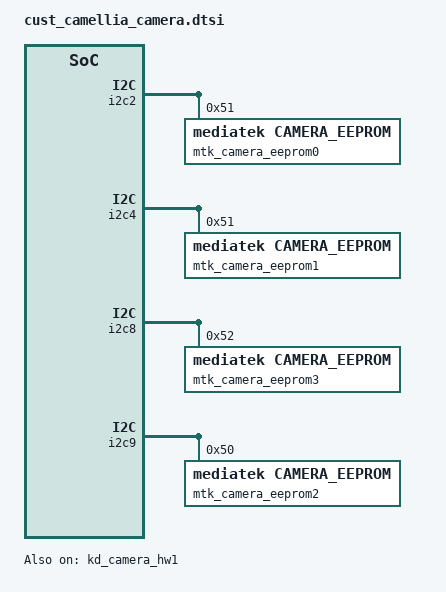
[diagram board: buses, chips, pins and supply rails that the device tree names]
/*
 * Copyright (c) 2019 MediaTek Inc.
 *
 * This program is free software; you can redistribute it and/or modify
 * it under the terms of the GNU General Public License version 2 as
 * published by the Free Software Foundation.
 *
 * This program is distributed in the hope that it will be useful,
 * but WITHOUT ANY WARRANTY; without even the implied warranty of
 * MERCHANTABILITY or FITNESS FOR A PARTICULAR PURPOSE.  See the
 * GNU General Public License for more details.
 */
/* CAMERA GPIO standardization */
&pio {
	camera_pins_cam0_rst_0: cam0@0 {
		pins_cmd_dat {
			pinmux = <PINMUX_GPIO56__FUNC_GPIO56>;
			slew-rate = <1>;
			output-low;
		};
	};
	camera_pins_cam0_rst_1: cam0@1 {
		pins_cmd_dat {
			pinmux = <PINMUX_GPIO56__FUNC_GPIO56>;
			slew-rate = <1>;
			output-high;
		};
	};

	camera_pins_cam1_rst_0: cam1@0 {
		pins_cmd_dat {
			pinmux = <PINMUX_GPIO54__FUNC_GPIO54>;
			slew-rate = <1>;
			output-low;
		};
	};
	camera_pins_cam1_rst_1: cam1@1 {
		pins_cmd_dat {
			pinmux = <PINMUX_GPIO54__FUNC_GPIO54>;
			slew-rate = <1>;
			output-high;
		};
	};

	camera_pins_cam2_rst_0: cam2@0 {
		pins_cmd_dat {
			pinmux = <PINMUX_GPIO60__FUNC_GPIO60>;
			slew-rate = <1>;
			output-low;
		};
	};
	camera_pins_cam2_rst_1: cam2@1 {
		pins_cmd_dat {
			pinmux = <PINMUX_GPIO60__FUNC_GPIO60>;
			slew-rate = <1>;
			output-high;
		};
	};

	camera_pins_cam0_vcamd_0: cam0@vcam0 {
		pins_cmd_dat {
			pinmux = <PINMUX_GPIO82__FUNC_GPIO82>;
			slew-rate = <1>;
			output-low;
		};
	};
	camera_pins_cam0_vcamd_1: cam0@vcam1 {
		pins_cmd_dat {
			pinmux = <PINMUX_GPIO82__FUNC_GPIO82>;
			slew-rate = <1>;
			output-high;
		};
	};
	camera_pins_cam0_vcama_0: cam0@vcam2 {
		pins_cmd_dat {
			pinmux = <PINMUX_GPIO7__FUNC_GPIO7>;
			slew-rate = <1>;
			output-low;
		};
	};
	camera_pins_cam0_vcama_1: cam0@vcam3 {
		pins_cmd_dat {
			pinmux = <PINMUX_GPIO7__FUNC_GPIO7>;
			slew-rate = <1>;
			output-high;
		};
	};

	camera_pins_cam1_vcamd_0: cam1@vcam0 {
		pins_cmd_dat {
			pinmux = <PINMUX_GPIO6__FUNC_GPIO6>;
			slew-rate = <1>;
			output-low;
		};
	};
	camera_pins_cam1_vcamd_1: cam1@vcam1 {
		pins_cmd_dat {
			pinmux = <PINMUX_GPIO6__FUNC_GPIO6>;
			slew-rate = <1>;
			output-high;
		};
	};
	camera_pins_cam1_vcama_0: cam1@vcam2 {
		pins_cmd_dat {
			pinmux = <PINMUX_GPIO7__FUNC_GPIO7>;
			slew-rate = <1>;
			output-low;
		};
	};
	camera_pins_cam1_vcama_1: cam1@vcam3 {
		pins_cmd_dat {
			pinmux = <PINMUX_GPIO7__FUNC_GPIO7>;
			slew-rate = <1>;
			output-high;
		};
	};
	camera_pins_cam2_vcamd_0: cam2@vcam0 {
		pins_cmd_dat {
			pinmux = <PINMUX_GPIO6__FUNC_GPIO6>;
			slew-rate = <1>;
			output-low;
		};
	};
	camera_pins_cam2_vcamd_1: cam2@vcam1 {
		pins_cmd_dat {
			pinmux = <PINMUX_GPIO6__FUNC_GPIO6>;
			slew-rate = <1>;
			output-high;
		};
	};
	camera_pins_cam2_vcama_0: cam2@vcam2 {
		pins_cmd_dat {
			pinmux = <PINMUX_GPIO7__FUNC_GPIO7>;
			slew-rate = <1>;
			output-low;
		};
	};
	camera_pins_cam2_vcama_1: cam2@vcam3 {
		pins_cmd_dat {
			pinmux = <PINMUX_GPIO7__FUNC_GPIO7>;
			slew-rate = <1>;
			output-high;
		};
	};
	camera_pins_cam0_mclk_off: camera_pins_cam0_mclk_off {
		pins_cmd_dat {
			pinmux = <PINMUX_GPIO50__FUNC_GPIO50>;
			drive-strength = <1>;
		};
	};
	camera_pins_cam0_mclk_2ma: camera_pins_cam0_mclk_2ma {
		pins_cmd_dat {
			pinmux = <PINMUX_GPIO50__FUNC_CMMCLK1>;
			drive-strength = <0>;
		};
	};
	camera_pins_cam0_mclk_4ma: camera_pins_cam0_mclk_4ma {
		pins_cmd_dat {
			pinmux = <PINMUX_GPIO50__FUNC_CMMCLK1>;
			drive-strength = <1>;
		};
	};
	camera_pins_cam0_mclk_6ma: camera_pins_cam0_mclk_6ma {
		pins_cmd_dat {
			pinmux = <PINMUX_GPIO50__FUNC_CMMCLK1>;
			drive-strength = <2>;
		};
	};
	camera_pins_cam0_mclk_8ma: camera_pins_cam0_mclk_8ma {
		pins_cmd_dat {
			pinmux = <PINMUX_GPIO50__FUNC_CMMCLK1>;
			drive-strength = <3>;
		};
	};
	camera_pins_cam1_mclk_off: camera_pins_cam1_mclk_off {
		pins_cmd_dat {
			pinmux = <PINMUX_GPIO49__FUNC_GPIO49>;
			drive-strength = <1>;
		};
	};
	camera_pins_cam1_mclk_2ma: camera_pins_cam1_mclk_2ma {
		pins_cmd_dat {
			pinmux = <PINMUX_GPIO49__FUNC_CMMCLK0>;
			drive-strength = <0>;
		};
	};
	camera_pins_cam1_mclk_4ma: camera_pins_cam1_mclk_4ma {
		pins_cmd_dat {
			pinmux = <PINMUX_GPIO49__FUNC_CMMCLK0>;
			drive-strength = <1>;
		};
	};
	camera_pins_cam1_mclk_6ma: camera_pins_cam1_mclk_6ma {
		pins_cmd_dat {
			pinmux = <PINMUX_GPIO49__FUNC_CMMCLK0>;
			drive-strength = <2>;
		};
	};
	camera_pins_cam1_mclk_8ma: camera_pins_cam1_mclk_8ma {
		pins_cmd_dat {
			pinmux = <PINMUX_GPIO49__FUNC_CMMCLK0>;
			drive-strength = <3>;
		};
	};
	camera_pins_cam2_mclk_off: camera_pins_cam2_mclk_off {
		pins_cmd_dat {
			pinmux = <PINMUX_GPIO52__FUNC_GPIO52>;
			drive-strength = <1>;
		};
	};
	camera_pins_cam2_mclk_2ma: camera_pins_cam2_mclk_2ma {
		pins_cmd_dat {
			pinmux = <PINMUX_GPIO52__FUNC_CMMCLK3>;
			drive-strength = <0>;
		};
	};
	camera_pins_cam2_mclk_4ma: camera_pins_cam2_mclk_4ma {
		pins_cmd_dat {
			pinmux = <PINMUX_GPIO52__FUNC_CMMCLK3>;
			drive-strength = <1>;
		};
	};
	camera_pins_cam2_mclk_6ma: camera_pins_cam2_mclk_6ma {
		pins_cmd_dat {
			pinmux = <PINMUX_GPIO52__FUNC_CMMCLK3>;
			drive-strength = <2>;
		};
	};
	camera_pins_cam2_mclk_8ma: camera_pins_cam2_mclk_8ma {
		pins_cmd_dat {
			pinmux = <PINMUX_GPIO52__FUNC_CMMCLK3>;
			drive-strength = <3>;
		};
	};
	camera_pins_cam_mipi_switch_en_1: mipi_en@1 {
		pins_cmd_dat {
			pinmux = <PINMUX_GPIO131__FUNC_GPIO131>;
			slew-rate = <1>;
			output-high;
		};
	};
	camera_pins_cam_mipi_switch_en_0: mipi_en@0 {
		pins_cmd_dat {
			pinmux = <PINMUX_GPIO131__FUNC_GPIO131>;
			slew-rate = <1>;
			output-low;
		};
	};
	camera_pins_cam_mipi_switch_sel_1: mipi_sel@1 {
		pins_cmd_dat {
			pinmux = <PINMUX_GPIO132__FUNC_GPIO132>;
			slew-rate = <1>;
			output-high;
		};
	};
	camera_pins_cam_mipi_switch_sel_0: mipi_sel@0 {
		pins_cmd_dat {
			pinmux = <PINMUX_GPIO132__FUNC_GPIO132>;
			slew-rate = <1>;
			output-low;
		};
	};
	camera_pins_default: camdefault {
	};
};
&kd_camera_hw1 {
	pinctrl-names = "default",
			"cam0_rst0", "cam0_rst1",
			"cam1_rst0", "cam1_rst1",
			"cam2_rst0", "cam2_rst1",
			"cam0_ldo_vcamd_0", "cam0_ldo_vcamd_1",
			"cam0_ldo_vcama_0", "cam0_ldo_vcama_1",
			"cam1_ldo_vcamd_0", "cam1_ldo_vcamd_1",
			"cam1_ldo_vcama_0", "cam1_ldo_vcama_1",
			"cam2_ldo_vcamd_0", "cam2_ldo_vcamd_1",
			"cam2_ldo_vcama_0", "cam2_ldo_vcama_1",
			"cam0_mclk_off",
			"cam0_mclk_2mA", "cam0_mclk_4mA",
			"cam0_mclk_6mA", "cam0_mclk_8mA",
			"cam1_mclk_off",
			"cam1_mclk_2mA", "cam1_mclk_4mA",
			"cam1_mclk_6mA", "cam1_mclk_8mA",
			"cam2_mclk_off",
			"cam2_mclk_2mA", "cam2_mclk_4mA",
			"cam2_mclk_6mA", "cam2_mclk_8mA",
			"cam_mipi_switch_en_1", "cam_mipi_switch_en_0",
			"cam_mipi_switch_sel_1", "cam_mipi_switch_sel_0";
	pinctrl-0 = <&camera_pins_default>;
	pinctrl-1 = <&camera_pins_cam0_rst_0>;
	pinctrl-2 = <&camera_pins_cam0_rst_1>;
	pinctrl-3 = <&camera_pins_cam1_rst_0>;
	pinctrl-4 = <&camera_pins_cam1_rst_1>;
	pinctrl-5 = <&camera_pins_cam2_rst_0>;
	pinctrl-6 = <&camera_pins_cam2_rst_1>;
	pinctrl-7 = <&camera_pins_cam0_vcamd_0>;
	pinctrl-8 = <&camera_pins_cam0_vcamd_1>;
	pinctrl-9 = <&camera_pins_cam0_vcama_0>;
	pinctrl-10 = <&camera_pins_cam0_vcama_1>;
	pinctrl-11 = <&camera_pins_cam1_vcamd_0>;
	pinctrl-12 = <&camera_pins_cam1_vcamd_1>;
	pinctrl-13 = <&camera_pins_cam1_vcama_0>;
	pinctrl-14 = <&camera_pins_cam1_vcama_1>;
	pinctrl-15 = <&camera_pins_cam2_vcamd_0>;
	pinctrl-16 = <&camera_pins_cam2_vcamd_1>;
	pinctrl-17 = <&camera_pins_cam2_vcama_0>;
	pinctrl-18 = <&camera_pins_cam2_vcama_1>;
	pinctrl-19 = <&camera_pins_cam0_mclk_off>;
	pinctrl-20 = <&camera_pins_cam0_mclk_2ma>;
	pinctrl-21 = <&camera_pins_cam0_mclk_4ma>;
	pinctrl-22 = <&camera_pins_cam0_mclk_6ma>;
	pinctrl-23 = <&camera_pins_cam0_mclk_8ma>;
	pinctrl-24 = <&camera_pins_cam1_mclk_off>;
	pinctrl-25 = <&camera_pins_cam1_mclk_2ma>;
	pinctrl-26 = <&camera_pins_cam1_mclk_4ma>;
	pinctrl-27 = <&camera_pins_cam1_mclk_6ma>;
	pinctrl-28 = <&camera_pins_cam1_mclk_8ma>;
	pinctrl-29 = <&camera_pins_cam2_mclk_off>;
	pinctrl-30 = <&camera_pins_cam2_mclk_2ma>;
	pinctrl-31 = <&camera_pins_cam2_mclk_4ma>;
	pinctrl-32 = <&camera_pins_cam2_mclk_6ma>;
	pinctrl-33 = <&camera_pins_cam2_mclk_8ma>;
	pinctrl-34 = <&camera_pins_cam_mipi_switch_en_1>;
	pinctrl-35 = <&camera_pins_cam_mipi_switch_en_0>;
	pinctrl-36 = <&camera_pins_cam_mipi_switch_sel_1>;
	pinctrl-37 = <&camera_pins_cam_mipi_switch_sel_0>;

	cam0_vcamio-supply = <&mt_pmic_vcamio_ldo_reg>;
	cam1_vcamio-supply = <&mt_pmic_vcamio_ldo_reg>;
	cam2_vcamio-supply = <&mt_pmic_vcamio_ldo_reg>;

	status = "okay";

       cam0_enable_sensor = "ov50c40_sunny_main_mipi_raw ov50c40_aac_main_mipi_raw s5kjn1_ofilm_main_mipi_raw hi1337_aac_main_mipi_raw hi1337_ofilm_main_mipi_raw";
       cam1_enable_sensor = "gc5035_sunny_front_mipi_raw hi556_ofilm_front_mipi_raw ov8856_aac_front_mipi_raw ov8856_ofilm_front_mipi_raw";
       cam2_enable_sensor = "ov02b1b_sunny_depth_mipi_raw sc201cs_ofilm_depth_mipi_raw sc202cs_ofilm_depth_mipi_raw";
       cam3_enable_sensor = "";

};
/* CAMERA GPIO end */

/* CAMERA EEPROM */
&i2c2 {
	mtk_camera_eeprom0:camera_eeprom0@51 {
		compatible = "mediatek,camera_eeprom";
		reg = <0x51>;
		status = "okay";
	};
};
&i2c4 {
	mtk_camera_eeprom1:camera_eeprom1@51 {
		compatible = "mediatek,camera_eeprom";
		reg = <0x51>;
		status = "okay";
	};
};
&i2c8 {
	mtk_camera_eeprom3:camera_eeprom3@52 {
		compatible = "mediatek,camera_eeprom";
		reg = <0x52>;
		status = "okay";
	};
};
&i2c9 {
	mtk_camera_eeprom2:camera_eeprom2@50 {
		compatible = "mediatek,camera_eeprom";
		reg = <0x50>;
		status = "okay";
	};
};
/* CAMERA EEPROM end */

